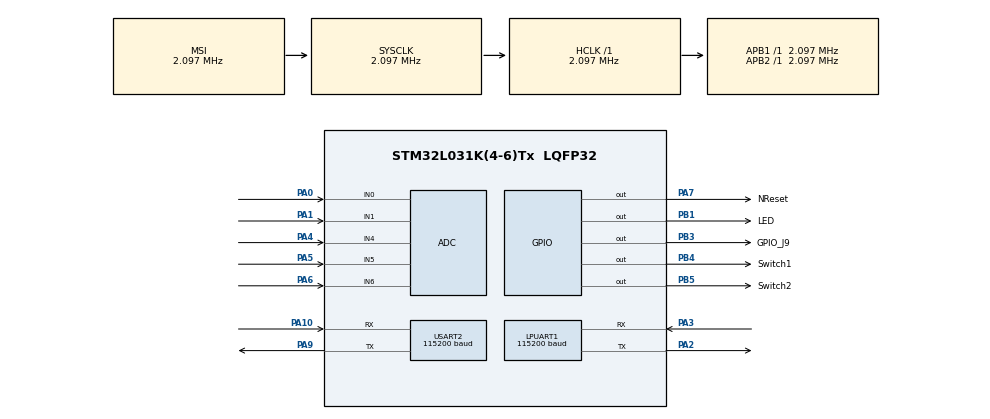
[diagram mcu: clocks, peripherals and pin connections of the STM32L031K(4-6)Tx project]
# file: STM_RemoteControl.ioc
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ADC.ContinuousConvMode=DISABLE
ADC.DMAContinuousRequests=ENABLE
Dma.ADC.0.Direction=DMA_PERIPH_TO_MEMORY
Dma.ADC.0.Instance=DMA1_Channel1
Dma.ADC.0.MemDataAlignment=DMA_MDATAALIGN_HALFWORD
Dma.ADC.0.MemInc=DMA_MINC_ENABLE
Dma.ADC.0.Mode=DMA_CIRCULAR
Dma.ADC.0.PeriphDataAlignment=DMA_PDATAALIGN_HALFWORD
Dma.ADC.0.PeriphInc=DMA_PINC_DISABLE
Dma.ADC.0.Priority=DMA_PRIORITY_MEDIUM
Dma.Request0=ADC
LPUART1.BaudRate=115200
LPUART1.SwapParam=UART_ADVFEATURE_SWAP_DISABLE
LPUART1.WordLength=UART_WORDLENGTH_8B
Mcu.Family=STM32L0
Mcu.Name=STM32L031K(4-6)Tx
Mcu.Package=LQFP32
NVIC.DMA1_Channel1_IRQn=true\:0\:0\:false\:false\:true\:false\:true\:true
PA0-CK_IN.Mode=IN0
PA0-CK_IN.Signal=ADC_IN0
PA1.Mode=IN1
PA1.Signal=ADC_IN1
PA10.Mode=Asynchronous
PA10.Signal=USART2_RX
PA13.Mode=Serial_Wire
PA13.Signal=SYS_SWDIO
PA14.Mode=Serial_Wire
PA14.Signal=SYS_SWCLK
PA2.Mode=Asynchronous
PA2.Signal=LPUART1_TX
PA3.Mode=Asynchronous
PA3.Signal=LPUART1_RX
PA4.Mode=IN4
PA4.Signal=ADC_IN4
PA5.Mode=IN5
PA5.Signal=ADC_IN5
PA6.Mode=IN6
PA6.Signal=ADC_IN6
PA7.GPIO_Label=NReset
PA7.Signal=GPIO_Output
PA9.Mode=Asynchronous
PA9.Signal=USART2_TX
PB1.GPIO_Label=LED
PB1.Signal=GPIO_Output
PB3.GPIO_Label=GPIO_J9
PB3.Signal=GPIO_Output
PB4.GPIO_Label=Switch1
PB4.Signal=GPIO_Output
PB5.GPIO_Label=Switch2
PB5.Signal=GPIO_Output
ProjectManager.HeapSize=0x200
ProjectManager.StackSize=0x400
ProjectManager.TargetToolchain=STM32CubeIDE
RCC.AHBFreq_Value=2097000
RCC.APB1Freq_Value=2097000
RCC.APB1TimFreq_Value=2097000
RCC.APB2Freq_Value=2097000
RCC.APB2TimFreq_Value=2097000
RCC.HSE_VALUE=8000000
RCC.HSI16_VALUE=16000000
RCC.HSI_VALUE=16000000
RCC.LSE_VALUE=32768
RCC.MSI_VALUE=2097000
RCC.SYSCLKFreq_VALUE=2097000
RCC.VCOOutputFreq_Value=48000000
USART2.BaudRate=115200
USART2.Parity=PARITY_NONE
USART2.VirtualMode-Asynchronous=VM_ASYNC
USART2.WordLength=WORDLENGTH_8B
board=custom

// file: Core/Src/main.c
/* USER CODE BEGIN Header */
/**
  ******************************************************************************
  * @file           : main.c
  * @brief          : Main program body
  ******************************************************************************
  * @attention
  *
  * Copyright (c) 2025 STMicroelectronics.
  * All rights reserved.
  *
  * This software is licensed under terms that can be found in the LICENSE file
  * in the root directory of this software component.
  * If no LICENSE file comes with this software, it is provided AS-IS.
  *
  ******************************************************************************
  */
/* USER CODE END Header */
#include "main.h"

/* USER CODE BEGIN Includes */
#include "Nora.h"
/* USER CODE END Includes */

ADC_HandleTypeDef hadc;
DMA_HandleTypeDef hdma_adc;

UART_HandleTypeDef hlpuart1;
UART_HandleTypeDef huart2;

void SystemClock_Config(void);
static void MX_GPIO_Init(void);
static void MX_DMA_Init(void);
static void MX_ADC_Init(void);
static void MX_LPUART1_UART_Init(void);
static void MX_USART2_UART_Init(void);
/* USER CODE BEGIN PFP */
UART_HandleTypeDef* getNoraPort(){
	return &hlpuart1;
}
UART_HandleTypeDef* getDebugPort(){
	return &huart2;
}
/* USER CODE END PFP */

int main(void)
{

  /* MCU Configuration--------------------------------------------------------*/

  /* Reset of all peripherals, Initializes the Flash interface and the Systick. */
  HAL_Init();

  /* Configure the system clock */
  SystemClock_Config();

  /* Initialize all configured peripherals */
  MX_GPIO_Init();
  MX_DMA_Init();
  MX_ADC_Init();
  MX_LPUART1_UART_Init();
  MX_USART2_UART_Init();
  /* USER CODE BEGIN 2 */
//  // boot up uconnect press
//  Nora_startup();

  static uint16_t adc_val[5];
  HAL_ADC_Start_DMA(&hadc, adc_val, 5);
  int thm, im, mm, rm, pm, ths, is, ms, rs, ps;
  thm = -1;
  im = -1;
  mm = -1;
  rm = -1;
  pm = -1;
  ths = -1;
  is = -1;
  ms = -1;
  rs = -1;
  ps = -1;
  /* USER CODE END 2 */

  /* Infinite loop */
  while (1)
  {

    /* USER CODE BEGIN 3 */
//	  i++;
//	  Nora_command("AT\r\n");
	  HAL_ADC_Start(&hadc);
	  HAL_Delay(50);
	  HAL_GPIO_WritePin(LED_GPIO_Port, LED_Pin, GPIO_PIN_SET);
	  char str_buffer[500];
	  if(thm == -1 || thm < adc_val[4]) {
		  thm = adc_val[4];
	  }
	  if(im == -1 || im < adc_val[3]) {
		  im = adc_val[3];
	  }
	  if(mm == -1 || mm < adc_val[2]) {
		  mm = adc_val[2];
	  }
	  if(rm == -1 || rm < adc_val[1]) {
		  rm = adc_val[1];
	  }
	  if(pm == -1 || pm < adc_val[0]) {
		  pm = adc_val[0];
	  }
	  if(ths == -1) {
		  ths = adc_val[4]/2;
	  }
	  if(is == -1) {
		  is = adc_val[3]/2;
	  }
	  if(ms == -1 ) {
		  ms = adc_val[2]/2;
	  }
	  if(rs == -1) {
		  rs = adc_val[1]/2;
	  }
	  if(ps == -1) {
		  ps = adc_val[0]/2;
	  }
	  if(ths > adc_val[4]) {
		  ths = adc_val[4];
	  }
	  if(is > adc_val[3]) {
		  is = adc_val[3];
	  }
	  if(ms > adc_val[2]) {
		  ms = adc_val[2];
	  }
	  if(rs > adc_val[1]) {
		  rs = adc_val[1];
	  }
	  if(ps > adc_val[0]) {
		  ps = adc_val[0];
	  }

//	  sprintf(str_buffer,"\r\nPinky: %u | Ring: %u | Middle 3: %u | Index 4: %u | Thumb 5: %u \r\n\0",adc_val[0],adc_val[1],adc_val[2],adc_val[3],adc_val[4]);
//
////	  if(i == 1)
//	  HAL_UART_Transmit(&huart2,str_buffer,strlen(str_buffer),5000);
//	  sprintf(str_buffer,"\r\nMaxes Pinky: %u | Ring: %u | Middle 3: %u | Index 4: %u | Thumb 5: %u \r\n\0",
//			  pm,rm,mm,im,thm);
//	  HAL_UART_Transmit(&huart2,str_buffer,strlen(str_buffer),5000);
//	  sprintf(str_buffer,"\r\nMins Pinky: %u | Ring: %u | Middle 3: %u | Index 4: %u | Thumb 5: %u \r\n\0",
//			  ps,rs,ms,is,ths);
//	  HAL_UART_Transmit(&huart2,str_buffer,strlen(str_buffer),5000);
//	  sprintf(str_buffer,
//	      "\r\nAngles Pinky: %3d | Ring: %3d | Middle: %3d | Index: %3d | Thumb: %3d\r\n\0",
//	      (adc_val[0] - ps) * 180 / (pm - ps),
//	      (adc_val[1] - rs) * 180 / (rm - rs),
//	      (adc_val[2] - ms) * 180 / (mm - ms),
//	      (adc_val[3] - is) * 180 / (im - is),
//	      (adc_val[4] - ths) * 180 / (thm - ths)
//	  );
	  sprintf(str_buffer,
	  	      "%c%c%c%c%c",
	  	      (adc_val[0] - ps) * 180 / (pm - ps),
			  (adc_val[1] - rs) * 180 / (rm - rs),
			  180-(adc_val[2] - ms) * 180 / (mm - ms),
			  (adc_val[3] - is) * 180 / (im - is),
			  180-(adc_val[4] - ths) * 180 / (thm - ths)
	  	  );
//	  sprintf(str_buffer,"\r\nPinky: %u | Ring: %u | Middle 3: %u | Index 4: %u | Thumb 5: %u \r\n\0",
//			  (adc_val[0]-ps)/(pm-ps)*100,
//			  (adc_val[1]-rs)/(rm-rs)*100,
//			  (adc_val[2]-ms)/(mm-ms)*100,
//			  (adc_val[3]-is)/(im-is)*100,
//			  (adc_val[4]-ths)/(thm-ths)*100);
	  char strbuff2[1];
	  while(HAL_UART_Receive(&huart2,strbuff2,1,50) != HAL_OK) {
//		  sprintf(str_buffer,"WAITING ON COMMAND\n");
//		  HAL_UART_Transmit(&huart2,str_buffer,strlen(str_buffer),5000);
	  }
	  HAL_UART_Transmit(&huart2,str_buffer,5,50);
	  HAL_GPIO_WritePin(LED_GPIO_Port, LED_Pin, GPIO_PIN_RESET);
	  // Send AT

//
//	  char *cmd = "AT\r\n";
//
//	  HAL_UART_Transmit(&hlpuart1, (uint8_t*)cmd, strlen(cmd), 100);
//	  HAL_Delay(100);
//	  // Receive response
//	  char rx[500];
//
//	  int rec = HAL_UART_Receive(&hlpuart1, rx, sizeof(rx), 500);
////	  rx[rec+1]='\0';
//	  char str_buffer2[500];
//	  sprintf(str_buffer2,"\nRead Out from %s %d characters: \r\n\0",cmd,rec);
//
//	  HAL_UART_Transmit(&huart2, str_buffer2, strlen(str_buffer2), 500);
//	  HAL_UART_Transmit(&huart2, rx, rec, 500);

  }
  /* USER CODE END 3 */
}

void SystemClock_Config(void)
{
  RCC_OscInitTypeDef RCC_OscInitStruct = {0};
  RCC_ClkInitTypeDef RCC_ClkInitStruct = {0};
  RCC_PeriphCLKInitTypeDef PeriphClkInit = {0};

  /** Configure the main internal regulator output voltage
  */
  __HAL_PWR_VOLTAGESCALING_CONFIG(PWR_REGULATOR_VOLTAGE_SCALE1);

  /** Initializes the RCC Oscillators according to the specified parameters
  * in the RCC_OscInitTypeDef structure.
  */
  RCC_OscInitStruct.OscillatorType = RCC_OSCILLATORTYPE_MSI;
  RCC_OscInitStruct.MSIState = RCC_MSI_ON;
  RCC_OscInitStruct.MSICalibrationValue = 0;
  RCC_OscInitStruct.MSIClockRange = RCC_MSIRANGE_5;
  RCC_OscInitStruct.PLL.PLLState = RCC_PLL_NONE;
  if (HAL_RCC_OscConfig(&RCC_OscInitStruct) != HAL_OK)
  {
    Error_Handler();
  }

  /** Initializes the CPU, AHB and APB buses clocks
  */
  RCC_ClkInitStruct.ClockType = RCC_CLOCKTYPE_HCLK|RCC_CLOCKTYPE_SYSCLK
                              |RCC_CLOCKTYPE_PCLK1|RCC_CLOCKTYPE_PCLK2;
  RCC_ClkInitStruct.SYSCLKSource = RCC_SYSCLKSOURCE_MSI;
  RCC_ClkInitStruct.AHBCLKDivider = RCC_SYSCLK_DIV1;
  RCC_ClkInitStruct.APB1CLKDivider = RCC_HCLK_DIV1;
  RCC_ClkInitStruct.APB2CLKDivider = RCC_HCLK_DIV1;

  if (HAL_RCC_ClockConfig(&RCC_ClkInitStruct, FLASH_LATENCY_0) != HAL_OK)
  {
    Error_Handler();
  }
  PeriphClkInit.PeriphClockSelection = RCC_PERIPHCLK_USART2|RCC_PERIPHCLK_LPUART1;
  PeriphClkInit.Usart2ClockSelection = RCC_USART2CLKSOURCE_PCLK1;
  PeriphClkInit.Lpuart1ClockSelection = RCC_LPUART1CLKSOURCE_PCLK1;
  if (HAL_RCCEx_PeriphCLKConfig(&PeriphClkInit) != HAL_OK)
  {
    Error_Handler();
  }
}

static void MX_ADC_Init(void)
{

  ADC_ChannelConfTypeDef sConfig = {0};

  /** Configure the global features of the ADC (Clock, Resolution, Data Alignment and number of conversion)
  */
  hadc.Instance = ADC1;
  hadc.Init.OversamplingMode = DISABLE;
  hadc.Init.ClockPrescaler = ADC_CLOCK_SYNC_PCLK_DIV1;
  hadc.Init.Resolution = ADC_RESOLUTION_12B;
  hadc.Init.SamplingTime = ADC_SAMPLETIME_1CYCLE_5;
  hadc.Init.ScanConvMode = ADC_SCAN_DIRECTION_FORWARD;
  hadc.Init.DataAlign = ADC_DATAALIGN_RIGHT;
  hadc.Init.ContinuousConvMode = DISABLE;
  hadc.Init.DiscontinuousConvMode = DISABLE;
  hadc.Init.ExternalTrigConvEdge = ADC_EXTERNALTRIGCONVEDGE_NONE;
  hadc.Init.ExternalTrigConv = ADC_SOFTWARE_START;
  hadc.Init.DMAContinuousRequests = ENABLE;
  hadc.Init.EOCSelection = ADC_EOC_SINGLE_CONV;
  hadc.Init.Overrun = ADC_OVR_DATA_PRESERVED;
  hadc.Init.LowPowerAutoWait = DISABLE;
  hadc.Init.LowPowerFrequencyMode = ENABLE;
  hadc.Init.LowPowerAutoPowerOff = DISABLE;
  if (HAL_ADC_Init(&hadc) != HAL_OK)
  {
    Error_Handler();
  }

  /** Configure for the selected ADC regular channel to be converted.
  */
  sConfig.Channel = ADC_CHANNEL_0;
  sConfig.Rank = ADC_RANK_CHANNEL_NUMBER;
  if (HAL_ADC_ConfigChannel(&hadc, &sConfig) != HAL_OK)
  {
    Error_Handler();
  }

  /** Configure for the selected ADC regular channel to be converted.
  */
  sConfig.Channel = ADC_CHANNEL_1;
  if (HAL_ADC_ConfigChannel(&hadc, &sConfig) != HAL_OK)
  {
    Error_Handler();
  }

  /** Configure for the selected ADC regular channel to be converted.
  */
  sConfig.Channel = ADC_CHANNEL_4;
  if (HAL_ADC_ConfigChannel(&hadc, &sConfig) != HAL_OK)
  {
    Error_Handler();
  }

  /** Configure for the selected ADC regular channel to be converted.
  */
  sConfig.Channel = ADC_CHANNEL_5;
  if (HAL_ADC_ConfigChannel(&hadc, &sConfig) != HAL_OK)
  {
    Error_Handler();
  }

  /** Configure for the selected ADC regular channel to be converted.
  */
  sConfig.Channel = ADC_CHANNEL_6;
  if (HAL_ADC_ConfigChannel(&hadc, &sConfig) != HAL_OK)
  {
    Error_Handler();
  }

}

static void MX_LPUART1_UART_Init(void)
{

  hlpuart1.Instance = LPUART1;
  hlpuart1.Init.BaudRate = 115200;
  hlpuart1.Init.WordLength = UART_WORDLENGTH_8B;
  hlpuart1.Init.StopBits = UART_STOPBITS_1;
  hlpuart1.Init.Parity = UART_PARITY_NONE;
  hlpuart1.Init.Mode = UART_MODE_TX_RX;
  hlpuart1.Init.HwFlowCtl = UART_HWCONTROL_NONE;
  hlpuart1.Init.OneBitSampling = UART_ONE_BIT_SAMPLE_DISABLE;
  hlpuart1.AdvancedInit.AdvFeatureInit = UART_ADVFEATURE_NO_INIT;
  if (HAL_UART_Init(&hlpuart1) != HAL_OK)
  {
    Error_Handler();
  }

}

static void MX_USART2_UART_Init(void)
{

  huart2.Instance = USART2;
  huart2.Init.BaudRate = 115200;
  huart2.Init.WordLength = UART_WORDLENGTH_8B;
  huart2.Init.StopBits = UART_STOPBITS_1;
  huart2.Init.Parity = UART_PARITY_NONE;
  huart2.Init.Mode = UART_MODE_TX_RX;
  huart2.Init.HwFlowCtl = UART_HWCONTROL_NONE;
  huart2.Init.OverSampling = UART_OVERSAMPLING_16;
  huart2.Init.OneBitSampling = UART_ONE_BIT_SAMPLE_DISABLE;
  huart2.AdvancedInit.AdvFeatureInit = UART_ADVFEATURE_NO_INIT;
  if (HAL_UART_Init(&huart2) != HAL_OK)
  {
    Error_Handler();
  }

}

static void MX_DMA_Init(void)
{

  /* DMA controller clock enable */
  __HAL_RCC_DMA1_CLK_ENABLE();

  /* DMA interrupt init */
  /* DMA1_Channel1_IRQn interrupt configuration */
  HAL_NVIC_SetPriority(DMA1_Channel1_IRQn, 0, 0);
  HAL_NVIC_EnableIRQ(DMA1_Channel1_IRQn);

}

static void MX_GPIO_Init(void)
{
  GPIO_InitTypeDef GPIO_InitStruct = {0};

  /* GPIO Ports Clock Enable */
  __HAL_RCC_GPIOA_CLK_ENABLE();
  __HAL_RCC_GPIOB_CLK_ENABLE();

  /*Configure GPIO pin Output Level */
  HAL_GPIO_WritePin(NReset_GPIO_Port, NReset_Pin, GPIO_PIN_RESET);

  /*Configure GPIO pin Output Level */
  HAL_GPIO_WritePin(GPIOB, LED_Pin|GPIO_J9_Pin|Switch1_Pin|Switch2_Pin, GPIO_PIN_RESET);

  /*Configure GPIO pin : NReset_Pin */
  GPIO_InitStruct.Pin = NReset_Pin;
  GPIO_InitStruct.Mode = GPIO_MODE_OUTPUT_PP;
  GPIO_InitStruct.Pull = GPIO_NOPULL;
  GPIO_InitStruct.Speed = GPIO_SPEED_FREQ_LOW;
  HAL_GPIO_Init(NReset_GPIO_Port, &GPIO_InitStruct);

  /*Configure GPIO pins : LED_Pin GPIO_J9_Pin Switch1_Pin Switch2_Pin */
  GPIO_InitStruct.Pin = LED_Pin|GPIO_J9_Pin|Switch1_Pin|Switch2_Pin;
  GPIO_InitStruct.Mode = GPIO_MODE_OUTPUT_PP;
  GPIO_InitStruct.Pull = GPIO_NOPULL;
  GPIO_InitStruct.Speed = GPIO_SPEED_FREQ_LOW;
  HAL_GPIO_Init(GPIOB, &GPIO_InitStruct);

}

void Error_Handler(void)
{
  __disable_irq();
  while (1)
  {
  }
}
